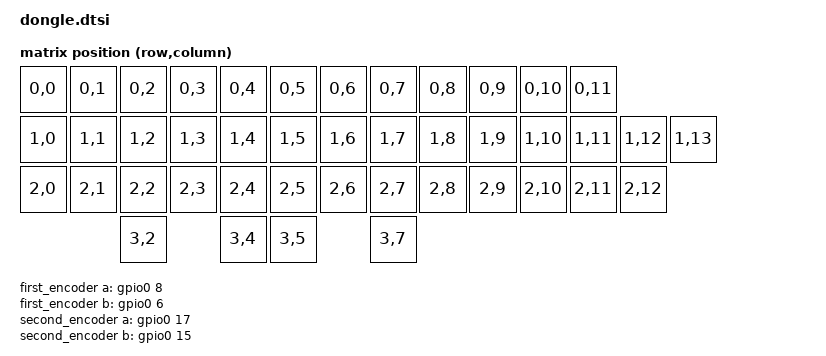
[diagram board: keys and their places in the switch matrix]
#include <dt-bindings/zmk/matrix_transform.h>
#include <zephyr/dt-bindings/input/input-event-codes.h>
#include <dt-bindings/zmk/input_transform.h>
#include <input/processors.dtsi>
#include "dongle-layouts.dtsi"

&dongle_layout {
    transform = <&default_transform>;
};

/ {
    chosen {
        zmk,kscan = &kscan0;
        zmk,physical-layout = &dongle_layout;
    };

	default_transform: keymap_transform_0 {
		compatible = "zmk,matrix-transform";
		columns = <14>;
		rows = <4>;
		map = <
	 RC(0,0) RC(0,1) RC(0,2) RC(0,3) RC(0,4)    RC(0,5) RC(0,6) RC(0,7) RC(0,8) RC(0,9)    RC(0,10) RC(0,11) 
	 RC(1,0) RC(1,1) RC(1,2) RC(1,3) RC(1,4)    RC(1,5) RC(1,6) RC(1,7) RC(1,8) RC(1,9)    RC(1,10) RC(1,11) RC(1,12) RC(1,13)
	 RC(2,0) RC(2,1) RC(2,2) RC(2,3) RC(2,4)    RC(2,5) RC(2,6) RC(2,7) RC(2,8) RC(2,9)    RC(2,10) RC(2,11) RC(2,12) 
					 RC(3,2)         RC(3,4)    RC(3,5)         RC(3,7) 
		>;
	};

    first_encoder: encoder_left {
        compatible = "alps,ec11";
        a-gpios = <&gpio0 8 (GPIO_ACTIVE_HIGH | GPIO_PULL_UP)>;
        b-gpios = <&gpio0 6 (GPIO_ACTIVE_HIGH | GPIO_PULL_UP)>;
        steps = <80>;
        status = "okay";
    };

    second_encoder: encoder_right {
        compatible = "alps,ec11";
        a-gpios = <&gpio0 17 (GPIO_ACTIVE_HIGH | GPIO_PULL_UP)>;
        b-gpios = <&gpio0 15 (GPIO_ACTIVE_HIGH | GPIO_PULL_UP)>;
        steps = <80>;
        status = "okay";
    };

    sensors: sensors {
        compatible = "zmk,keymap-sensors";
        sensors = <&first_encoder &second_encoder>;
        triggers-per-rotation = <20>;
    };

    trackball_listener: trackball_listener {
        status = "okay";
        compatible = "zmk,input-listener";
        device = <&trackball>;
  };

};

&spi0 {
    status = "okay";
    compatible = "nordic,nrf-spim";
    pinctrl-0 = <&spi0_default>;
    pinctrl-1 = <&spi0_sleep>;
    pinctrl-names = "default", "sleep";
    cs-gpios = <&gpio0 20 GPIO_ACTIVE_LOW>;  //for NCS pin

    trackball: trackball@0 {
        status = "okay";
        compatible = "pixart,pmw3610";
        reg = <0>;
        spi-max-frequency = <2000000>;
        irq-gpios = <&gpio0 6 (GPIO_ACTIVE_LOW | GPIO_PULL_UP)>;  //for MOTION pin
        cpi = <900>;
        evt-type = <INPUT_EV_REL>;
        x-input-code = <INPUT_REL_X>;
        y-input-code = <INPUT_REL_Y>;

        force-awake;
        /* keep the sensor awake while ZMK activity state is ACTIVE,
           fallback to normal downshift mode after ZMK goes into IDLE / SLEEP mode.
           thus, the sensor would be a `wakeup-source` */

        force-awake-4ms-mode;
        /* while force-awake is acitvated, enable this mode to force sampling per 
           4ms, where the default sampling rate is 8ms. */
        /* NOTE: apply this mode if you need 250Hz with direct USB connection. */
    };
};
